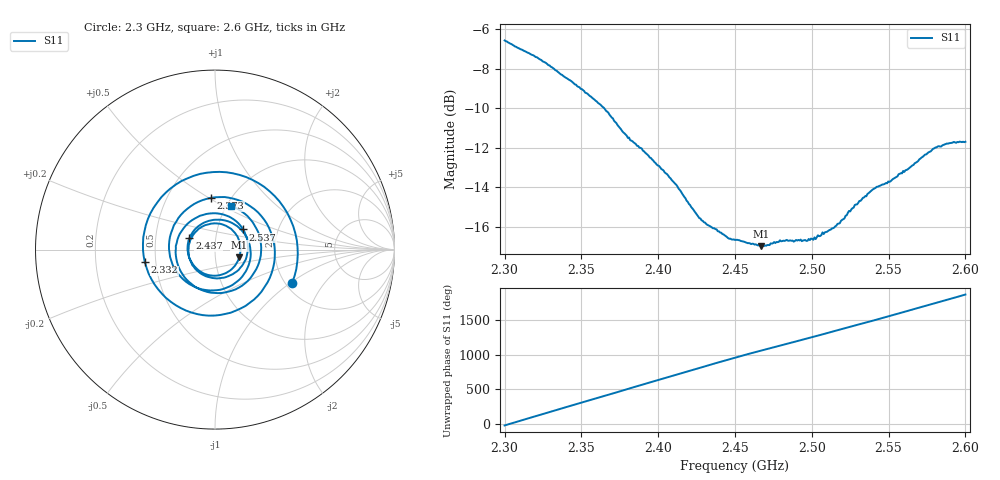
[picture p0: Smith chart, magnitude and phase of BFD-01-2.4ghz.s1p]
! NanoVNA-App
! Date: 2026-05-22 18:14:37
! Start: 2.3GHz Stop: 2.6GHz Points: 401
! S-Parameter data: F S11
# Hz S RI R 50
!  Frequency  S11_Real  S11_Imag
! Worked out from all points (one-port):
!   401 points, 2.3 GHz to 2.6 GHz, reference 50 ohm
!   lowest |S11| = -17.0 dB at 2.467 GHz (marker M1), VSWR 1.33, Z = 65.3 - j5.8 ohm
!   |S11| at or under -10 dB: 2.365 GHz to end of sweep
!   S11 on the Smith chart (normalised r, x): 2.3 GHz: 2.18, -1.03; 2.332 GHz: 0.43, -0.07; 2.373 GHz: 0.81, +0.51; 2.437 GHz: 0.74, +0.10; 2.537 GHz: 1.33, +0.31; 2.6 GHz: 1.05, +0.55
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2.3e9  0.4306 -0.1851
2.3075e9  0.4035 0.2029
2.3165e9  0.0248 0.4331
2.3255e9  -0.3431 0.2316
2.33225e9  -0.391 -0.0698
2.3375e9  -0.2735 -0.2687
2.34575e9  0.0582 -0.3583
2.35625e9  0.3302 -0.072
2.36525e9  0.2193 0.2253
2.37275e9  -0.0224 0.2889
2.375e9  -0.0938 0.2657
2.38475e9  -0.2564 0.0258
2.396e9  -0.0888 -0.217
2.4125e9  0.1992 -0.0219
2.4245e9  0.0536 0.163
2.43725e9  -0.1429 0.0632
2.45e9  -0.0795 -0.1233
2.46725e9  0.1347 -0.0435
2.4875e9  -0.023 0.1444
2.50475e9  -0.1401 -0.0536
2.51525e9  -0.015 -0.1581
2.525e9  0.1395 -0.1028
2.537e9  0.1566 0.1124
2.549e9  -0.0638 0.1938
2.5625e9  -0.2155 -0.0509
2.5775e9  0.0762 -0.2338
2.58875e9  0.2569 -0.00865
2.6e9  0.0903 0.2437
